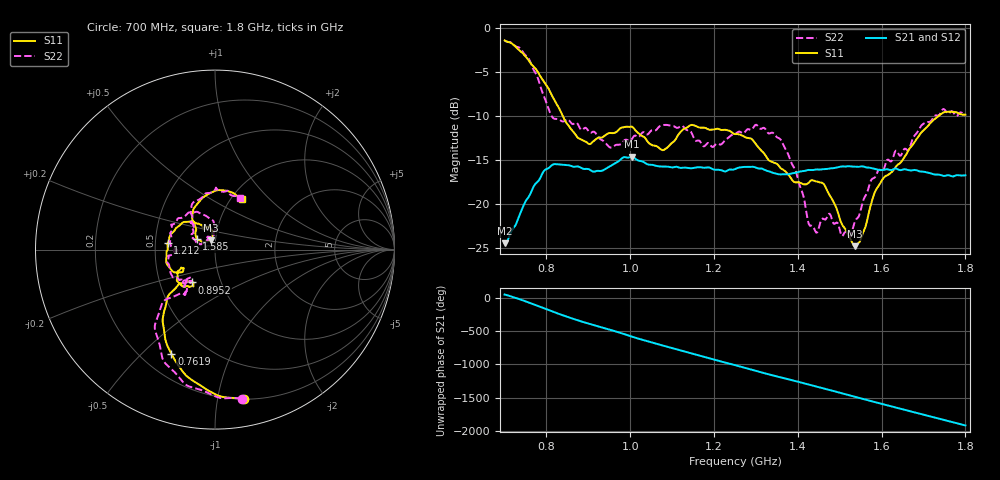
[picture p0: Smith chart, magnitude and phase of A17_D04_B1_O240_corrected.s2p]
! Created with skrf 1.9.0 (http://scikit-rf.org).
# Hz S RI R 50.0
!freq ReS11 ImS11 ReS21 ImS21 ReS12 ImS12 ReS22 ImS22
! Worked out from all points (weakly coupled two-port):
!   1601 points, 700 MHz to 1.8 GHz, reference 50 ohm
!   highest |S21| = -14.65 dB at 1.003 GHz (marker M1); lowest = -24.5 dB at 701.4 MHz (marker M2)
!   lowest |S11| = -24.8 dB at 1.535 GHz (marker M3), VSWR 1.12, Z = 47.4 + j4.94 ohm
!   |S11| at or under -10 dB: 838.4 MHz to 1.736 GHz (898 MHz wide, 69.8 % of centre)
!   |S22| runs from -23.8 to -1.5 dB; largest |S21 - S12| = 0.0035
!   S11 on the Smith chart (normalised r, x): 700 MHz: 0.20, -1.19; 761.9 MHz: 0.32, -0.62; 895.2 MHz: 0.72, -0.28; 1.212 GHz: 0.58, +0.05; 1.585 GHz: 0.81, +0.10; 1.8 GHz: 1.12, +0.71
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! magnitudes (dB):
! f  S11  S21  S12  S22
! 700 MHz  -1.4  -24.5  -24.2  -1.5
! 701.4 MHz  -1.5  -24.5  -24.1  -1.5
! 761.9 MHz  -4.0  -18.8  -18.7  -4.0
! 814.1 MHz  -7.8  -15.6  -15.6  -10.2
! 883.6 MHz  -12.7  -15.9  -15.8  -11.6
! 895.2 MHz  -13.0  -16.0  -16.1  -11.4
! 953 MHz  -11.9  -15.7  -15.7  -13.6
! 1.003 GHz  -11.2  -14.7  -14.8  -12.7
! 1.067 GHz  -13.6  -15.7  -15.7  -11.3
! 1.144 GHz  -11.1  -16.0  -16.0  -11.8
! 1.212 GHz  -11.5  -16.1  -16.1  -13.2
! 1.25 GHz  -12.1  -16.1  -16.0  -12.1
! 1.301 GHz  -13.3  -15.9  -15.9  -11.0
! 1.358 GHz  -15.9  -16.7  -16.6  -12.7
! 1.434 GHz  -17.3  -16.2  -16.1  -22.5
! 1.464 GHz  -17.9  -16.1  -16.0  -21.8
! 1.523 GHz  -23.8  -15.7  -15.7  -23.7
! 1.535 GHz  -24.8  -15.8  -15.8  -22.2
! 1.585 GHz  -18.6  -16.0  -16.0  -16.9
! 1.617 GHz  -16.7  -16.1  -16.1  -15.0
! 1.736 GHz  -10.0  -16.7  -16.7  -10.0
! 1.8 GHz  -9.9  -16.8  -16.7  -10.0
